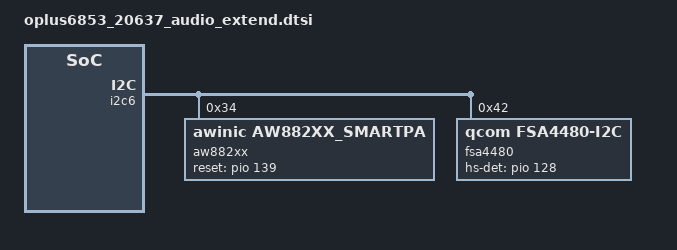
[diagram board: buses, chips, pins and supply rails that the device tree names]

&audio_extend {
	//for nxp speaker
	oplus,speaker-vendor = "awinic_digital";
	oplus,speaker-i2s-id = <3>;
	oplus,speaker-i2s-id-in = <0>;
	oplus,speaker-codec-name = "aw882xx_smartpa";
	oplus,speaker-codec-dai-name = "aw882xx-aif";
};

//#ifdef OPLUS_ARCH_EXTENDS
&i2c6 {
    #address-cells = <1>;
    #size-cells = <0>;

	aw882xx: aw882xx@34 {
		compatible = "awinic,aw882xx_smartpa";
		reg = <0x34>;
		#sound-dai-cells = <0>;
		monitor-flag = <1>;
		monitor-timer-val = <3000>;
		status = "okay";
		aw-cali-mode = "aw_misc";
		reset-gpio = <&pio 139 0>;
	};

	fsa4480: fsa4480@42 {
		compatible = "qcom,fsa4480-i2c";
		reg = <0x42>;
		pinctrl-names = "default";
		pinctrl-0 = <&fsa_hs_det>;
		fsa4480,hs-det-gpio = <&pio 128 0>;
	};
};


&pio {
	fsa_hs_det: fsa_hs_det {
		pins_cmd_dat {
			pinmux = <PINMUX_GPIO128__FUNC_GPIO128>;
			slew-rate = <1>;  /*direction 0:in, 1:out*/
			output-high;
		};
	};
};
//#endif /*OPLUS_ARCH_EXTENDS*/

&sound {
        mtk_spk_i2s_in = <9>;
        si,sia81xx-max-num = <0>;
};
&sia81xx_L{
	compatible = "si,sia81xx";
	si,sia81xx_type = "3";
};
